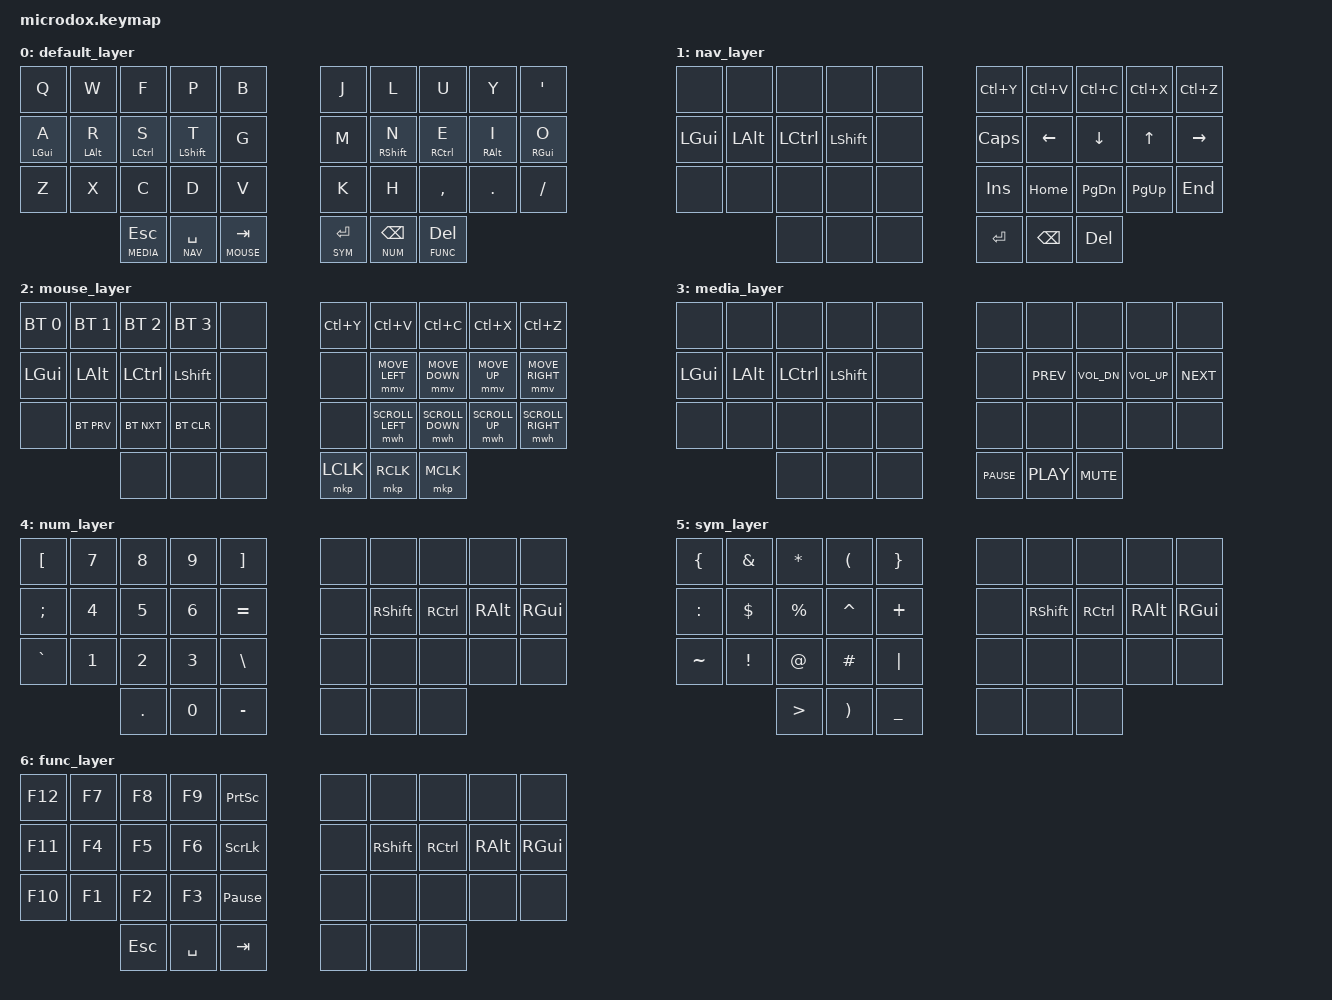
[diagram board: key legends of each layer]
/*
 * Copyright (c) 2020 The ZMK Contributors
 *
 * SPDX-License-Identifier: MIT
 */

#include <behaviors.dtsi>
#include <dt-bindings/zmk/keys.h>
#include <dt-bindings/zmk/bt.h>
#include <dt-bindings/zmk/outputs.h>
#include <dt-bindings/zmk/mouse.h>

#define BASE    0
#define NAV     1
#define MOUSE   2
#define MEDIA   3
#define NUM     4
#define SYM     5
#define FUNC    6

/ {
        behaviors {
        hm: homerow_mods {
            compatible = "zmk,behavior-hold-tap";
            label = "HOMEROW_MODS";
            #binding-cells = <2>;
            tapping-term-ms = <200>;
            quick_tap_ms = <0>;
            flavor = "tap-preferred";
            bindings = <&kp>, <&kp>;
        };

        wm: winkey_mods {
            compatible = "zmk,behavior-hold-tap";
            label = "WINKEY_MODS";
            #binding-cells = <2>;
            tapping-term-ms = <300>;
            quick_tap_ms = <0>;
            flavor = "tap-preferred";
            bindings = <&kp>, <&kp>;
        };

        sm: shift_mods {
            compatible = "zmk,behavior-hold-tap";
            label = "SHIFT_MODS";
            #binding-cells = <2>;
            tapping-term-ms = <175>;
            quick_tap_ms = <0>;
            flavor = "tap-preferred";
            bindings = <&kp>, <&kp>;
        };
        
    };
    
        keymap {
                compatible = "zmk,keymap";

                default_layer {
// -----------------------------------------------------------------------------------------
// |  Q  |  W  |  F  |  P  |  B   |   |  J  |  L   |  U  |  Y  |  '  |
// |  A  |  R  |  S  |  T  |  G   |   |  M  |  N   |  E  |  I  |  O  |
// |  Z  |  X  |  C  |  D  |  V   |   |  K  |  H   |  ,  |  .  |  /  |
//             | ESC | SPC | TAB  |   | ENT | BKSP | DEL |
                        bindings = <
   &kp Q      &kp W      &kp F         &kp P         &kp B              &kp J         &kp L        &kp U         &kp Y        &kp SQT
   &wm LGUI A &hm LALT R &hm LCTRL S   &sm LSHFT T   &kp G              &kp M         &sm RSHFT N  &hm RCTRL E   &hm RALT I   &wm RGUI O
   &kp Z      &kp X      &kp C         &kp D         &kp V              &kp K         &kp H        &kp COMMA     &kp DOT      &kp FSLH
                         &lt MEDIA ESC &lt NAV SPACE &lt MOUSE TAB     &lt SYM ENTER &lt NUM BSPC &lt FUNC DEL
                        >;
                };

                nav_layer {
// -----------------------------------------------------------------------------------------
// |  Q  |  W  |  F  |  P  |  B   |   |  J  |  L   |  U  |  Y  |  '  |
// |  A  |  R  |  S  |  T  |  G   |   |  M  |  N   |  E  |  I  |  O  |
// |  Z  |  X  |  C  |  D  |  V   |   |  K  |  H   |  ,  |  .  |  /  |
//             | ESC | SPC | TAB  |   | ENT | BKSP | DEL |
                        bindings = <
   &none      &none      &none         &none         &none              &kp LC(Y)     &kp LC(V)    &kp LC(C)     &kp LC(X)    &kp LC(Z)
   &kp LGUI   &kp LALT   &kp LCTRL     &kp LSHFT     &none              &kp CAPSLOCK  &kp LEFT     &kp DOWN      &kp UP       &kp RIGHT
   &none      &none      &none         &none         &none              &kp INSERT    &kp HOME     &kp PG_DN     &kp PG_UP    &kp END
                         &none         &none         &none              &kp ENTER     &kp BSPC     &kp DEL
                        >;
                };

                mouse_layer {
// -----------------------------------------------------------------------------------------
// |  Q  |  W  |  F  |  P  |  B   |   |  J  |  L   |  U  |  Y  |  '  |
// |  A  |  R  |  S  |  T  |  G   |   |  M  |  N   |  E  |  I  |  O  |
// |  Z  |  X  |  C  |  D  |  V   |   |  K  |  H   |  ,  |  .  |  /  |
//             | ESC | SPC | TAB  |   | ENT | BKSP | DEL |
                        bindings = <
   &bt BT_SEL 0 &bt BT_SEL 1  &bt BT_SEL 2  &bt BT_SEL 3  &none              &kp LC(Y)  &kp LC(V)          &kp LC(C)         &kp LC(X)      &kp LC(Z)
   &kp LGUI     &kp LALT      &kp LCTRL     &kp LSHFT     &none              &none      &mmv MOVE_LEFT     &mmv MOVE_DOWN    &mmv MOVE_UP   &mmv MOVE_RIGHT 
   &none        &bt BT_PRV    &bt BT_NXT    &bt BT_CLR    &none              &none      &mwh SCROLL_LEFT   &mwh SCROLL_DOWN  &mwh SCROLL_UP &mwh SCROLL_RIGHT
                              &none         &none         &none              &mkp LCLK  &mkp RCLK          &mkp MCLK
                        >;
                };

                media_layer {
// -----------------------------------------------------------------------------------------
// |  Q  |  W  |  F  |  P  |  B   |   |  J  |  L   |  U  |  Y  |  '  |
// |  A  |  R  |  S  |  T  |  G   |   |  M  |  N   |  E  |  I  |  O  |
// |  Z  |  X  |  C  |  D  |  V   |   |  K  |  H   |  ,  |  .  |  /  |
//             | ESC | SPC | TAB  |   | ENT | BKSP | DEL |
                        bindings = <
   &none      &none      &none         &none         &none              &none         &none        &none         &none        &none
   &kp LGUI   &kp LALT   &kp LCTRL     &kp LSHFT     &none              &none         &kp C_PREV   &kp C_VOL_DN  &kp C_VOL_UP &kp C_NEXT
   &none      &none      &none         &none         &none              &none         &none        &none         &none        &none
                         &none         &none         &none              &kp C_PAUSE   &kp C_PLAY     &kp C_MUTE
                        >;
                };

                num_layer {
// -----------------------------------------------------------------------------------------
// |  Q  |  W  |  F  |  P  |  B   |   |  J  |  L   |  U  |  Y  |  '  |
// |  A  |  R  |  S  |  T  |  G   |   |  M  |  N   |  E  |  I  |  O  |
// |  Z  |  X  |  C  |  D  |  V   |   |  K  |  H   |  ,  |  .  |  /  |
//             | ESC | SPC | TAB  |   | ENT | BKSP | DEL |
                        bindings = <
   &kp LBKT   &kp N7     &kp N8        &kp N9        &kp RBKT           &none         &none        &none         &none        &none
   &kp SEMI   &kp N4     &kp N5        &kp N6        &kp EQUAL          &none         &kp RSHFT    &kp RCTRL     &kp RALT     &kp RGUI
   &kp GRAVE  &kp N1     &kp N2        &kp N3        &kp BSLH           &none         &none        &none         &none        &none
                         &kp DOT       &kp N0        &kp MINUS          &none         &none        &none
                        >;
                };

                sym_layer {
// -----------------------------------------------------------------------------------------
// |  Q  |  W  |  F  |  P  |  B   |   |  J  |  L   |  U  |  Y  |  '  |
// |  A  |  R  |  S  |  T  |  G   |   |  M  |  N   |  E  |  I  |  O  |
// |  Z  |  X  |  C  |  D  |  V   |   |  K  |  H   |  ,  |  .  |  /  |
//             | ESC | SPC | TAB  |   | ENT | BKSP | DEL |
                        bindings = <
   &kp LBRC   &kp AMPS   &kp ASTRK     &kp LPAR      &kp RBRC           &none         &none        &none         &none        &none
   &kp COLON  &kp DLLR   &kp PRCNT     &kp CARET     &kp PLUS           &none         &kp RSHFT    &kp RCTRL     &kp RALT     &kp RGUI
   &kp TILDE  &kp EXCL   &kp AT        &kp HASH      &kp PIPE           &none         &none        &none         &none        &none
                         &kp GT        &kp RPAR      &kp UNDER          &none         &none        &none
                        >;
                };

                func_layer {
// -----------------------------------------------------------------------------------------
// |  Q  |  W  |  F  |  P  |  B   |   |  J  |  L   |  U  |  Y  |  '  |
// |  A  |  R  |  S  |  T  |  G   |   |  M  |  N   |  E  |  I  |  O  |
// |  Z  |  X  |  C  |  D  |  V   |   |  K  |  H   |  ,  |  .  |  /  |
//             | ESC | SPC | TAB  |   | ENT | BKSP | DEL |
                        bindings = <
   &kp F12    &kp F7     &kp F8        &kp F9        &kp PSCRN          &none         &none        &none         &none        &none
   &kp F11    &kp F4     &kp F5        &kp F6        &kp SLCK           &none         &kp RSHFT    &kp RCTRL     &kp RALT     &kp RGUI
   &kp F10    &kp F1     &kp F2        &kp F3        &kp PAUSE_BREAK    &none         &none        &none         &none        &none
                         &kp ESC       &kp SPACE     &kp TAB            &none         &none        &none
                        >;
                };


        };
};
